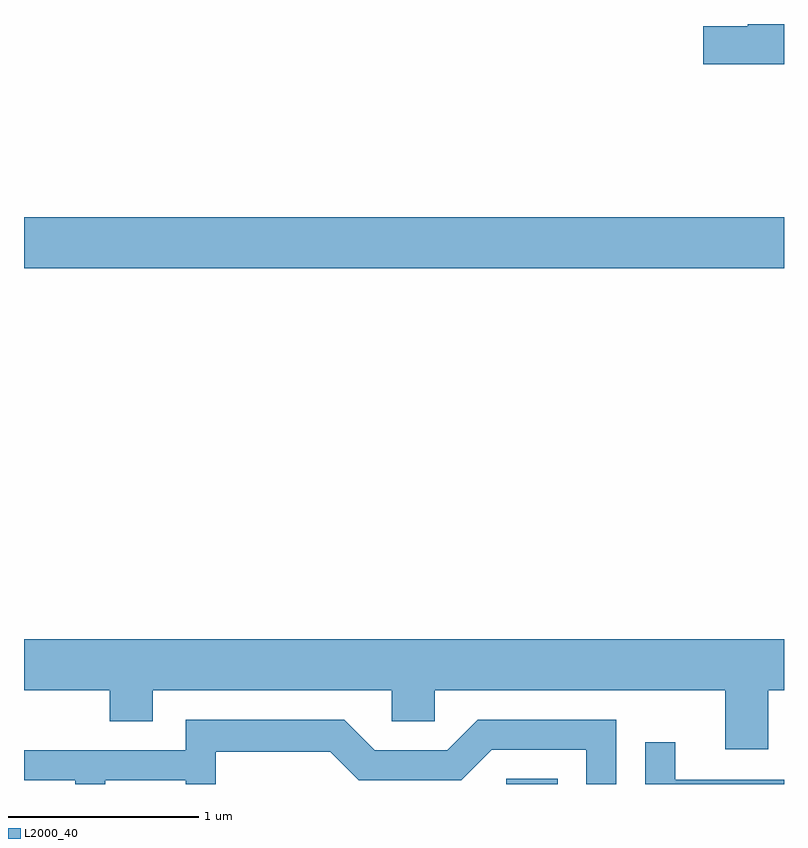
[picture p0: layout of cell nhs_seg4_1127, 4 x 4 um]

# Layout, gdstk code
import gdstk
lib = gdstk.Library(unit=1e-6, precision=1e-09)
def R(c, l, rs):  # rectangles x0, y0, x1, y1
    for r in rs: c.add(gdstk.rectangle(r[:2], r[2:], *l))
def P(c, l, *ps):  # polygons
    for p in ps: c.add(gdstk.Polygon(p, *l))
L2000_40 = (2000, 40)

nhs_seg4_1127 = lib.new_cell('nhs_seg4_1127')
R(nhs_seg4_1127, L2000_40, [(220.148,1331.982,220.419,1332.009), (217.611,1334.696,221.611,1334.964)])
P(nhs_seg4_1127, L2000_40, [(221.611,1335.982),(221.421,1335.982),(221.421,1335.969),(221.186,1335.969),(221.186,1335.771),(221.611,1335.771)],
  [(221.529,1332.476),(221.611,1332.476),(221.611,1332.744),(217.611,1332.744),(217.611,1332.476),(218.061,1332.476),(218.061,1332.311),(218.289,1332.311),(218.289,1332.476),(219.546,1332.476),(219.546,1332.311),(219.774,1332.311),(219.774,1332.476),(221.301,1332.476),(221.301,1332.166),(221.529,1332.166)],
  [(218.039,1332.001),(218.461,1332.001),(218.461,1331.982),(218.619,1331.982),(218.619,1332.151),(219.224,1332.151),(219.374,1332.001),(219.912,1332.001),(220.072,1332.161),(220.571,1332.161),(220.571,1331.982),(220.729,1331.982),(220.729,1332.319),(219.999,1332.319),(219.839,1332.159),(219.457,1332.159),(219.297,1332.319),(218.461,1332.319),(218.461,1332.159),(217.611,1332.159),(217.611,1332.001),(217.881,1332.001),(217.881,1331.982),(218.039,1331.982)],
  [(221.611,1332.004),(221.039,1332.004),(221.039,1332.203),(220.881,1332.203),(220.881,1331.982),(221.611,1331.982)])

lib.write_gds('nhs_seg4_1127.gds')
